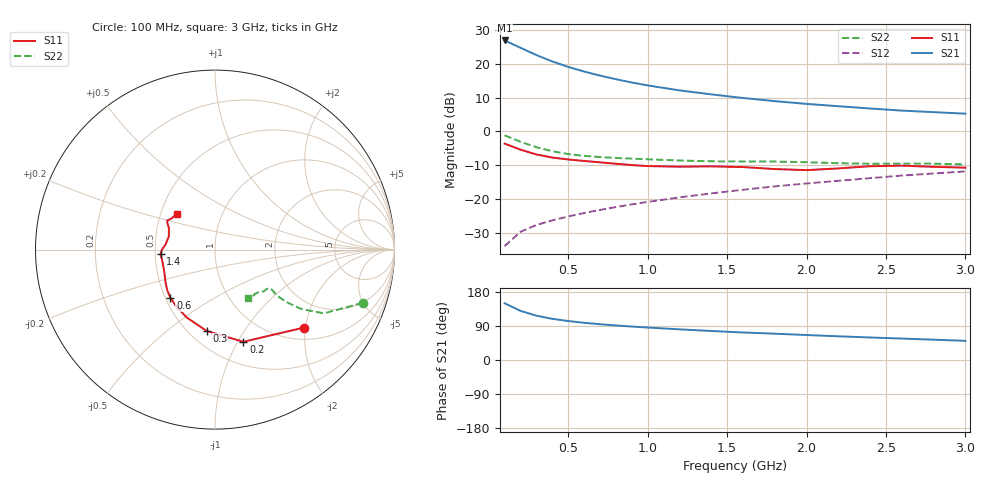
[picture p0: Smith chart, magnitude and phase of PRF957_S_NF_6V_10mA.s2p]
! Philips part #:  PRF957  Date:  Nov 1998
! Bias condition:  Vce=6V, Ic=10mA
#  MHz  S  MA  R 50
! Freq  S11  S21  S12  S22
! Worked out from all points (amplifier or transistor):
!   20 points, 100 MHz to 3 GHz, reference 50 ohm
!   highest |S21| = 26.9 dB at 100 MHz (marker M1)
!   |S21| within 3 dB of that: start of sweep to 238.7 MHz
!   unconditionally stable (mu >= 1): 1.073 GHz to end of sweep
!   at 400 MHz: K = 0.70, MSG = 23.5 dB, |S12| = -26.3 dB
!   at 1.2 GHz: K = 1.02, MAG = 15.0 dB, |S12| = -19.5 dB
!   at 3 GHz: K = 1.04, MAG = 7.4 dB, |S12| = -11.8 dB
!   lowest NFmin = 1.22 dB at 500 MHz
!   S11 on the Smith chart (normalised r, x): 100 MHz: 1.28, -1.96; 200 MHz: 0.73, -1.06; 300 MHz: 0.61, -0.70; 600 MHz: 0.53, -0.33; 1.4 GHz: 0.53, -0.03; 3 GHz: 0.61, +0.26
100  0.6595 -41.2  22.2 149.7  0.02003 71.8  0.875 -19.8
200  0.5374 -72.9  17.3 129.6  0.03267 63.2  0.7029 -30.4
300  0.4558 -95.8  13.49 117.0  0.04117 60.8  0.583 -34.5
400  0.4106 -112.2  10.85 108.7  0.04825 61.2  0.508 -36.0
500  0.3842 -124.1  9.021 102.8  0.05506 62.7  0.4626 -36.5
600  0.3657 -132.8  7.699 98.2  0.06193 64.3  0.4345 -36.5
700  0.3489 -139.7  6.702 94.4  0.06891 65.7  0.417 -36.2
800  0.3327 -145.7  5.927 91.2  0.0759 67.1  0.4051 -35.8
900  0.3177 -151.6  5.301 88.3  0.08309 68.3  0.3955 -35.4
1000  0.307 -157.4  4.799 85.7  0.09046 69.3  0.3868 -35.1
1200  0.3003 -168.0  4.051 80.9  0.1055 70.7  0.3711 -35.5
1400  0.304 -175.0  3.533 76.6  0.1209 71.5  0.3614 -37.4
1600  0.2968 -179.6  3.126 72.7  0.1369 72.2  0.3594 -39.5
1800  0.2772 174.2  2.806 69.4  0.1537 72.5  0.3577 -40.7
2000  0.2675 164.2  2.555 65.9  0.1696 72.7  0.3501 -41.9
2200  0.2833 155.0  2.361 62.5  0.1858 72.6  0.3386 -44.4
2400  0.3053 150.6  2.185 59.4  0.2032 72.3  0.3324 -48.1
2600  0.3114 148.6  2.032 56.6  0.2224 71.7  0.3338 -51.5
2800  0.2991 144.9  1.929 53.6  0.2384 71.6  0.3331 -53.6
3000  0.2909 137.2  1.831 50.6  0.2558 71.3  0.3248 -55.7
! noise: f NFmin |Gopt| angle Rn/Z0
500  1.22  0.16  28  0.16
800  1.4  0.19  81  0.16
900  1.51  0.21  75  0.16
1000  1.5  0.19  81  0.23
1500  1.5  0.29  126  0.16
2000  1.86  0.27  -165  0.15
